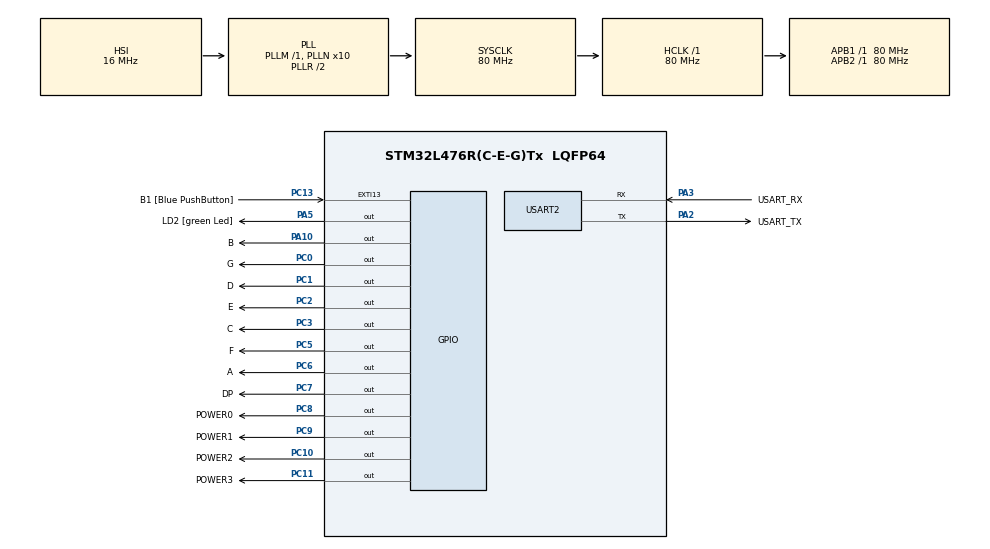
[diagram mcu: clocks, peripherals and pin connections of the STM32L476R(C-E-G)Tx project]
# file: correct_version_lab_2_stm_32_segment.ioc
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Mcu.Family=STM32L4
Mcu.Name=STM32L476R(C-E-G)Tx
Mcu.Package=LQFP64
NVIC.PriorityGroup=NVIC_PRIORITYGROUP_4
NVIC.TIM1_TRG_COM_TIM17_IRQn=true\:0\:0\:false\:false\:true\:true\:true\:true
PA10.GPIO_Label=B
PA10.Signal=GPIO_Output
PA13\ (JTMS-SWDIO).GPIO_Label=TMS
PA13\ (JTMS-SWDIO).Mode=Serial_Wire
PA13\ (JTMS-SWDIO).Signal=SYS_JTMS-SWDIO
PA14\ (JTCK-SWCLK).GPIO_Label=TCK
PA14\ (JTCK-SWCLK).Mode=Serial_Wire
PA14\ (JTCK-SWCLK).Signal=SYS_JTCK-SWCLK
PA2.GPIO_Label=USART_TX
PA2.GPIO_Mode=GPIO_MODE_AF_PP
PA2.GPIO_PuPd=GPIO_NOPULL
PA2.GPIO_Speed=GPIO_SPEED_FREQ_VERY_HIGH
PA2.Mode=Asynchronous
PA2.Signal=USART2_TX
PA3.GPIO_Label=USART_RX
PA3.GPIO_Mode=GPIO_MODE_AF_PP
PA3.GPIO_PuPd=GPIO_NOPULL
PA3.GPIO_Speed=GPIO_SPEED_FREQ_VERY_HIGH
PA3.Mode=Asynchronous
PA3.Signal=USART2_RX
PA5.GPIO_Label=LD2 [green Led]
PA5.GPIO_ModeDefaultOutputPP=GPIO_MODE_OUTPUT_PP
PA5.GPIO_PuPd=GPIO_NOPULL
PA5.GPIO_Speed=GPIO_SPEED_FREQ_LOW
PA5.Signal=GPIO_Output
PB3\ (JTDO-TRACESWO).GPIO_Label=SWO
PB3\ (JTDO-TRACESWO).Signal=SYS_JTDO-SWO
PC0.GPIO_Label=G
PC0.Signal=GPIO_Output
PC1.GPIO_Label=D
PC1.Signal=GPIO_Output
PC10.GPIO_Label=POWER2
PC10.Signal=GPIO_Output
PC11.GPIO_Label=POWER3
PC11.Signal=GPIO_Output
PC13.GPIO_Label=B1 [Blue PushButton]
PC13.GPIO_ModeDefaultEXTI=GPIO_MODE_IT_FALLING
PC13.GPIO_PuPd=GPIO_NOPULL
PC13.Signal=GPXTI13
PC14-OSC32_IN\ (PC14).Mode=LSE-External-Oscillator
PC14-OSC32_IN\ (PC14).Signal=RCC_OSC32_IN
PC15-OSC32_OUT\ (PC15).Mode=LSE-External-Oscillator
PC15-OSC32_OUT\ (PC15).Signal=RCC_OSC32_OUT
PC2.GPIO_Label=E
PC2.Signal=GPIO_Output
PC3.GPIO_Label=C
PC3.Signal=GPIO_Output
PC5.GPIO_Label=F
PC5.Signal=GPIO_Output
PC6.GPIO_Label=A
PC6.Signal=GPIO_Output
PC7.GPIO_Label=DP
PC7.Signal=GPIO_Output
PC8.GPIO_Label=POWER0
PC8.Signal=GPIO_Output
PC9.GPIO_Label=POWER1
PC9.Signal=GPIO_Output
PH0-OSC_IN\ (PH0).Signal=RCC_OSC_IN
PH1-OSC_OUT\ (PH1).Signal=RCC_OSC_OUT
ProjectManager.HeapSize=0x200
ProjectManager.StackSize=0x400
ProjectManager.TargetToolchain=STM32CubeIDE
RCC.ADCFreq_Value=64000000
RCC.AHBFreq_Value=80000000
RCC.APB1Freq_Value=80000000
RCC.APB1TimFreq_Value=80000000
RCC.APB2Freq_Value=80000000
RCC.APB2TimFreq_Value=80000000
RCC.CortexFreq_Value=80000000
RCC.HCLKFreq_Value=80000000
RCC.HSE_VALUE=8000000
RCC.HSI_VALUE=16000000
RCC.MSI_VALUE=4000000
RCC.PLLN=10
RCC.PLLSourceVirtual=RCC_PLLSOURCE_HSI
RCC.PREFETCH_ENABLE=1
RCC.SYSCLKFreq_VALUE=80000000
RCC.SYSCLKSource=RCC_SYSCLKSOURCE_PLLCLK
RCC.USBFreq_Value=64000000
RCC.VCOOutputFreq_Value=160000000
TIM17.Period=9
TIM17.Prescaler=8399
USART2.VirtualMode-Asynchronous=VM_ASYNC
VP_TIM17_VS_ClockSourceINT.Mode=Enable_Timer
board=NUCLEO-L476RG

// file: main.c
/* USER CODE BEGIN Header */
/**
  ******************************************************************************
  * @file           : main.c
  * @brief          : Main program body
  ******************************************************************************
  * @attention
  *
  * Copyright (c) 2023 STMicroelectronics.
  * All rights reserved.
  *
  * This software is licensed under terms that can be found in the LICENSE file
  * in the root directory of this software component.
  * If no LICENSE file comes with this software, it is provided AS-IS.
  *
  ******************************************************************************
  */
/* USER CODE END Header */
#include "main.h"

TIM_HandleTypeDef htim17;

UART_HandleTypeDef huart2;

/* USER CODE BEGIN PV */
volatile uint16_t numberToWrite;
volatile uint8_t singleNumber[4];

void set_power_line(uint8_t number) {

	switch(number) {

	case 0:
		HAL_GPIO_WritePin(POWER0_GPIO_Port, POWER0_Pin, GPIO_PIN_RESET);
		HAL_GPIO_WritePin(POWER1_GPIO_Port, POWER1_Pin, GPIO_PIN_SET);
		HAL_GPIO_WritePin(POWER2_GPIO_Port, POWER2_Pin, GPIO_PIN_SET);
		HAL_GPIO_WritePin(POWER3_GPIO_Port, POWER3_Pin, GPIO_PIN_SET);
		break;

	case 1:
		HAL_GPIO_WritePin(POWER0_GPIO_Port, POWER0_Pin, GPIO_PIN_SET);
		HAL_GPIO_WritePin(POWER1_GPIO_Port, POWER1_Pin, GPIO_PIN_RESET);
		HAL_GPIO_WritePin(POWER2_GPIO_Port, POWER2_Pin, GPIO_PIN_SET);
		HAL_GPIO_WritePin(POWER3_GPIO_Port, POWER3_Pin, GPIO_PIN_SET);
		break;

	case 2:
		HAL_GPIO_WritePin(POWER0_GPIO_Port, POWER0_Pin, GPIO_PIN_SET);
		HAL_GPIO_WritePin(POWER1_GPIO_Port, POWER1_Pin, GPIO_PIN_SET);
		HAL_GPIO_WritePin(POWER2_GPIO_Port, POWER2_Pin, GPIO_PIN_RESET);
		HAL_GPIO_WritePin(POWER3_GPIO_Port, POWER3_Pin, GPIO_PIN_SET);
		break;

	case 3:
		HAL_GPIO_WritePin(POWER0_GPIO_Port, POWER0_Pin, GPIO_PIN_SET);
		HAL_GPIO_WritePin(POWER1_GPIO_Port, POWER1_Pin, GPIO_PIN_SET);
		HAL_GPIO_WritePin(POWER2_GPIO_Port, POWER2_Pin, GPIO_PIN_SET);
		HAL_GPIO_WritePin(POWER3_GPIO_Port, POWER3_Pin, GPIO_PIN_RESET);
		break;
	}
}

void set_diodes(uint8_t number) {

	switch(number) {

	case 0:
		HAL_GPIO_WritePin(A_GPIO_Port, A_Pin, GPIO_PIN_SET);
		HAL_GPIO_WritePin(G_GPIO_Port, G_Pin, GPIO_PIN_RESET);
		HAL_GPIO_WritePin(D_GPIO_Port, D_Pin, GPIO_PIN_SET);
		HAL_GPIO_WritePin(F_GPIO_Port, F_Pin, GPIO_PIN_SET);
		HAL_GPIO_WritePin(E_GPIO_Port, E_Pin, GPIO_PIN_SET);
		HAL_GPIO_WritePin(B_GPIO_Port, B_Pin, GPIO_PIN_SET);
		HAL_GPIO_WritePin(C_GPIO_Port, C_Pin, GPIO_PIN_SET);
		HAL_GPIO_WritePin(DP_GPIO_Port, DP_Pin, GPIO_PIN_RESET);
		break;

	case 1:
		HAL_GPIO_WritePin(A_GPIO_Port, A_Pin, GPIO_PIN_RESET);
		HAL_GPIO_WritePin(G_GPIO_Port, G_Pin, GPIO_PIN_RESET);
		HAL_GPIO_WritePin(D_GPIO_Port, D_Pin, GPIO_PIN_RESET);
		HAL_GPIO_WritePin(F_GPIO_Port, F_Pin, GPIO_PIN_RESET);
		HAL_GPIO_WritePin(E_GPIO_Port, E_Pin, GPIO_PIN_RESET);
		HAL_GPIO_WritePin(B_GPIO_Port, B_Pin, GPIO_PIN_SET);
		HAL_GPIO_WritePin(C_GPIO_Port, C_Pin, GPIO_PIN_SET);
		HAL_GPIO_WritePin(DP_GPIO_Port, DP_Pin, GPIO_PIN_RESET);
		break;

	case 2:
		HAL_GPIO_WritePin(A_GPIO_Port, A_Pin, GPIO_PIN_SET);
		HAL_GPIO_WritePin(G_GPIO_Port, G_Pin, GPIO_PIN_SET);
		HAL_GPIO_WritePin(D_GPIO_Port, D_Pin, GPIO_PIN_SET);
		HAL_GPIO_WritePin(F_GPIO_Port, F_Pin, GPIO_PIN_RESET);
		HAL_GPIO_WritePin(E_GPIO_Port, E_Pin, GPIO_PIN_SET);
		HAL_GPIO_WritePin(B_GPIO_Port, B_Pin, GPIO_PIN_SET);
		HAL_GPIO_WritePin(C_GPIO_Port, C_Pin, GPIO_PIN_RESET);
		HAL_GPIO_WritePin(DP_GPIO_Port, DP_Pin, GPIO_PIN_RESET);
		break;

	case 3:
		HAL_GPIO_WritePin(A_GPIO_Port, A_Pin, GPIO_PIN_SET);
		HAL_GPIO_WritePin(G_GPIO_Port, G_Pin, GPIO_PIN_SET);
		HAL_GPIO_WritePin(D_GPIO_Port, D_Pin, GPIO_PIN_SET);
		HAL_GPIO_WritePin(F_GPIO_Port, F_Pin, GPIO_PIN_RESET);
		HAL_GPIO_WritePin(E_GPIO_Port, E_Pin, GPIO_PIN_RESET);
		HAL_GPIO_WritePin(B_GPIO_Port, B_Pin, GPIO_PIN_SET);
		HAL_GPIO_WritePin(C_GPIO_Port, C_Pin, GPIO_PIN_SET);
		HAL_GPIO_WritePin(DP_GPIO_Port, DP_Pin, GPIO_PIN_RESET);
		break;

	case 4:
		HAL_GPIO_WritePin(A_GPIO_Port, A_Pin, GPIO_PIN_RESET);
		HAL_GPIO_WritePin(G_GPIO_Port, G_Pin, GPIO_PIN_SET);
		HAL_GPIO_WritePin(D_GPIO_Port, D_Pin, GPIO_PIN_RESET);
		HAL_GPIO_WritePin(F_GPIO_Port, F_Pin, GPIO_PIN_SET);
		HAL_GPIO_WritePin(E_GPIO_Port, E_Pin, GPIO_PIN_RESET);
		HAL_GPIO_WritePin(B_GPIO_Port, B_Pin, GPIO_PIN_SET);
		HAL_GPIO_WritePin(C_GPIO_Port, C_Pin, GPIO_PIN_SET);
		HAL_GPIO_WritePin(DP_GPIO_Port, DP_Pin, GPIO_PIN_RESET);
		break;

	case 5:
		HAL_GPIO_WritePin(A_GPIO_Port, A_Pin, GPIO_PIN_SET);
		HAL_GPIO_WritePin(G_GPIO_Port, G_Pin, GPIO_PIN_SET);
		HAL_GPIO_WritePin(D_GPIO_Port, D_Pin, GPIO_PIN_SET);
		HAL_GPIO_WritePin(F_GPIO_Port, F_Pin, GPIO_PIN_SET);
		HAL_GPIO_WritePin(E_GPIO_Port, E_Pin, GPIO_PIN_RESET);
		HAL_GPIO_WritePin(B_GPIO_Port, B_Pin, GPIO_PIN_RESET);
		HAL_GPIO_WritePin(C_GPIO_Port, C_Pin, GPIO_PIN_SET);
		HAL_GPIO_WritePin(DP_GPIO_Port, DP_Pin, GPIO_PIN_RESET);
		break;

	case 6:
		HAL_GPIO_WritePin(A_GPIO_Port, A_Pin, GPIO_PIN_SET);
		HAL_GPIO_WritePin(G_GPIO_Port, G_Pin, GPIO_PIN_SET);
		HAL_GPIO_WritePin(D_GPIO_Port, D_Pin, GPIO_PIN_SET);
		HAL_GPIO_WritePin(F_GPIO_Port, F_Pin, GPIO_PIN_SET);
		HAL_GPIO_WritePin(E_GPIO_Port, E_Pin, GPIO_PIN_SET);
		HAL_GPIO_WritePin(B_GPIO_Port, B_Pin, GPIO_PIN_RESET);
		HAL_GPIO_WritePin(C_GPIO_Port, C_Pin, GPIO_PIN_SET);
		HAL_GPIO_WritePin(DP_GPIO_Port, DP_Pin, GPIO_PIN_RESET);
		break;

	case 7:
		HAL_GPIO_WritePin(A_GPIO_Port, A_Pin, GPIO_PIN_SET);
		HAL_GPIO_WritePin(G_GPIO_Port, G_Pin, GPIO_PIN_RESET);
		HAL_GPIO_WritePin(D_GPIO_Port, D_Pin, GPIO_PIN_RESET);
		HAL_GPIO_WritePin(F_GPIO_Port, F_Pin, GPIO_PIN_RESET);
		HAL_GPIO_WritePin(E_GPIO_Port, E_Pin, GPIO_PIN_RESET);
		HAL_GPIO_WritePin(B_GPIO_Port, B_Pin, GPIO_PIN_SET);
		HAL_GPIO_WritePin(C_GPIO_Port, C_Pin, GPIO_PIN_SET);
		HAL_GPIO_WritePin(DP_GPIO_Port, DP_Pin, GPIO_PIN_RESET);
		break;

	case 8:
		HAL_GPIO_WritePin(A_GPIO_Port, A_Pin, GPIO_PIN_SET);
		HAL_GPIO_WritePin(G_GPIO_Port, G_Pin, GPIO_PIN_SET);
		HAL_GPIO_WritePin(D_GPIO_Port, D_Pin, GPIO_PIN_SET);
		HAL_GPIO_WritePin(F_GPIO_Port, F_Pin, GPIO_PIN_SET);
		HAL_GPIO_WritePin(E_GPIO_Port, E_Pin, GPIO_PIN_SET);
		HAL_GPIO_WritePin(B_GPIO_Port, B_Pin, GPIO_PIN_SET);
		HAL_GPIO_WritePin(C_GPIO_Port, C_Pin, GPIO_PIN_SET);
		HAL_GPIO_WritePin(DP_GPIO_Port, DP_Pin, GPIO_PIN_RESET);
		break;

	case 9:
		HAL_GPIO_WritePin(A_GPIO_Port, A_Pin, GPIO_PIN_SET);
		HAL_GPIO_WritePin(G_GPIO_Port, G_Pin, GPIO_PIN_SET);
		HAL_GPIO_WritePin(D_GPIO_Port, D_Pin, GPIO_PIN_SET);
		HAL_GPIO_WritePin(F_GPIO_Port, F_Pin, GPIO_PIN_SET);
		HAL_GPIO_WritePin(E_GPIO_Port, E_Pin, GPIO_PIN_RESET);
		HAL_GPIO_WritePin(B_GPIO_Port, B_Pin, GPIO_PIN_SET);
		HAL_GPIO_WritePin(C_GPIO_Port, C_Pin, GPIO_PIN_SET);
		HAL_GPIO_WritePin(DP_GPIO_Port, DP_Pin, GPIO_PIN_RESET);
		break;
	}
}

void HAL_TIM_PeriodElapsedCallback(TIM_HandleTypeDef *htim) {
	static uint8_t counter = 0;

	if(htim->Instance == TIM17) {

		counter++;

		if(counter >= 4) {
			counter = 0;
		}

		if(counter == 0) {
			uint16_t copy = numberToWrite;
			uint8_t i = 0;

			while(i < 4) {
				uint8_t rest = copy % 10;
				singleNumber[i] = rest;
				copy = copy / 10;
				i++;
			}
		}

		set_power_line(counter);
		set_diodes(singleNumber[counter]);
	}
}

/* USER CODE END PV */

void SystemClock_Config(void);
static void MX_GPIO_Init(void);
static void MX_USART2_UART_Init(void);
static void MX_TIM17_Init(void);

int main(void)
{

  /* MCU Configuration--------------------------------------------------------*/

  /* Reset of all peripherals, Initializes the Flash interface and the Systick. */
  HAL_Init();

  /* Configure the system clock */
  SystemClock_Config();

  /* Initialize all configured peripherals */
  MX_GPIO_Init();
  MX_USART2_UART_Init();
  MX_TIM17_Init();
  /* USER CODE BEGIN 2 */
  HAL_TIM_Base_Start_IT(&htim17);
  numberToWrite = 8932;
//  HAL_GPIO_WritePin(B_GPIO_Port, B_Pin, GPIO_PIN_SET);
  /* USER CODE END 2 */

  /* Infinite loop */
  while (1)
  {

  }
}

void SystemClock_Config(void)
{
  RCC_OscInitTypeDef RCC_OscInitStruct = {0};
  RCC_ClkInitTypeDef RCC_ClkInitStruct = {0};

  /** Configure the main internal regulator output voltage
  */
  if (HAL_PWREx_ControlVoltageScaling(PWR_REGULATOR_VOLTAGE_SCALE1) != HAL_OK)
  {
    Error_Handler();
  }

  /** Initializes the RCC Oscillators according to the specified parameters
  * in the RCC_OscInitTypeDef structure.
  */
  RCC_OscInitStruct.OscillatorType = RCC_OSCILLATORTYPE_HSI;
  RCC_OscInitStruct.HSIState = RCC_HSI_ON;
  RCC_OscInitStruct.HSICalibrationValue = RCC_HSICALIBRATION_DEFAULT;
  RCC_OscInitStruct.PLL.PLLState = RCC_PLL_ON;
  RCC_OscInitStruct.PLL.PLLSource = RCC_PLLSOURCE_HSI;
  RCC_OscInitStruct.PLL.PLLM = 1;
  RCC_OscInitStruct.PLL.PLLN = 10;
  RCC_OscInitStruct.PLL.PLLP = RCC_PLLP_DIV7;
  RCC_OscInitStruct.PLL.PLLQ = RCC_PLLQ_DIV2;
  RCC_OscInitStruct.PLL.PLLR = RCC_PLLR_DIV2;
  if (HAL_RCC_OscConfig(&RCC_OscInitStruct) != HAL_OK)
  {
    Error_Handler();
  }

  /** Initializes the CPU, AHB and APB buses clocks
  */
  RCC_ClkInitStruct.ClockType = RCC_CLOCKTYPE_HCLK|RCC_CLOCKTYPE_SYSCLK
                              |RCC_CLOCKTYPE_PCLK1|RCC_CLOCKTYPE_PCLK2;
  RCC_ClkInitStruct.SYSCLKSource = RCC_SYSCLKSOURCE_PLLCLK;
  RCC_ClkInitStruct.AHBCLKDivider = RCC_SYSCLK_DIV1;
  RCC_ClkInitStruct.APB1CLKDivider = RCC_HCLK_DIV1;
  RCC_ClkInitStruct.APB2CLKDivider = RCC_HCLK_DIV1;

  if (HAL_RCC_ClockConfig(&RCC_ClkInitStruct, FLASH_LATENCY_4) != HAL_OK)
  {
    Error_Handler();
  }
}

static void MX_TIM17_Init(void)
{

  htim17.Instance = TIM17;
  htim17.Init.Prescaler = 8399;
  htim17.Init.CounterMode = TIM_COUNTERMODE_UP;
  htim17.Init.Period = 9;
  htim17.Init.ClockDivision = TIM_CLOCKDIVISION_DIV1;
  htim17.Init.RepetitionCounter = 0;
  htim17.Init.AutoReloadPreload = TIM_AUTORELOAD_PRELOAD_DISABLE;
  if (HAL_TIM_Base_Init(&htim17) != HAL_OK)
  {
    Error_Handler();
  }

}

static void MX_USART2_UART_Init(void)
{

  huart2.Instance = USART2;
  huart2.Init.BaudRate = 115200;
  huart2.Init.WordLength = UART_WORDLENGTH_8B;
  huart2.Init.StopBits = UART_STOPBITS_1;
  huart2.Init.Parity = UART_PARITY_NONE;
  huart2.Init.Mode = UART_MODE_TX_RX;
  huart2.Init.HwFlowCtl = UART_HWCONTROL_NONE;
  huart2.Init.OverSampling = UART_OVERSAMPLING_16;
  huart2.Init.OneBitSampling = UART_ONE_BIT_SAMPLE_DISABLE;
  huart2.AdvancedInit.AdvFeatureInit = UART_ADVFEATURE_NO_INIT;
  if (HAL_UART_Init(&huart2) != HAL_OK)
  {
    Error_Handler();
  }

}

static void MX_GPIO_Init(void)
{
  GPIO_InitTypeDef GPIO_InitStruct = {0};

  /* GPIO Ports Clock Enable */
  __HAL_RCC_GPIOC_CLK_ENABLE();
  __HAL_RCC_GPIOH_CLK_ENABLE();
  __HAL_RCC_GPIOA_CLK_ENABLE();
  __HAL_RCC_GPIOB_CLK_ENABLE();

  /*Configure GPIO pin Output Level */
  HAL_GPIO_WritePin(GPIOC, G_Pin|D_Pin|E_Pin|C_Pin
                          |F_Pin|A_Pin|DP_Pin|POWER0_Pin
                          |POWER1_Pin|POWER2_Pin|POWER3_Pin, GPIO_PIN_RESET);

  /*Configure GPIO pin Output Level */
  HAL_GPIO_WritePin(GPIOA, LD2_Pin|B_Pin, GPIO_PIN_RESET);

  /*Configure GPIO pin : B1_Pin */
  GPIO_InitStruct.Pin = B1_Pin;
  GPIO_InitStruct.Mode = GPIO_MODE_IT_FALLING;
  GPIO_InitStruct.Pull = GPIO_NOPULL;
  HAL_GPIO_Init(B1_GPIO_Port, &GPIO_InitStruct);

  /*Configure GPIO pins : G_Pin D_Pin E_Pin C_Pin
                           F_Pin A_Pin DP_Pin POWER0_Pin
                           POWER1_Pin POWER2_Pin POWER3_Pin */
  GPIO_InitStruct.Pin = G_Pin|D_Pin|E_Pin|C_Pin
                          |F_Pin|A_Pin|DP_Pin|POWER0_Pin
                          |POWER1_Pin|POWER2_Pin|POWER3_Pin;
  GPIO_InitStruct.Mode = GPIO_MODE_OUTPUT_PP;
  GPIO_InitStruct.Pull = GPIO_NOPULL;
  GPIO_InitStruct.Speed = GPIO_SPEED_FREQ_LOW;
  HAL_GPIO_Init(GPIOC, &GPIO_InitStruct);

  /*Configure GPIO pins : LD2_Pin B_Pin */
  GPIO_InitStruct.Pin = LD2_Pin|B_Pin;
  GPIO_InitStruct.Mode = GPIO_MODE_OUTPUT_PP;
  GPIO_InitStruct.Pull = GPIO_NOPULL;
  GPIO_InitStruct.Speed = GPIO_SPEED_FREQ_LOW;
  HAL_GPIO_Init(GPIOA, &GPIO_InitStruct);

}

void Error_Handler(void)
{
  __disable_irq();
  while (1)
  {
  }
}
